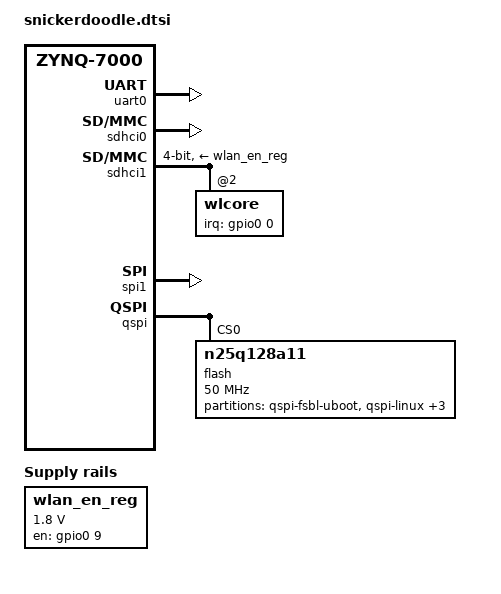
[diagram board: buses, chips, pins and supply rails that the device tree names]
/**
 * Copyright (c) 2016 krtkl inc.
 *
 * snickerdoodle base device tree source
 *
 * This program is free software; you can redistribute it and/or modify it
 * under the terms of the GNU General Public License version 2 as published by
 * the Free Software Foundation.
 */

/include/ "zynq-7000.dtsi"
/ {
        compatible = "xlnx,zynq-snickerdoodle", "xlnx,zynq-7000";

	aliases {
		serial0 = &uart0;
		spi0 = &qspi;
		spi1 = &spi1;
		mmc0 = &sdhci0;
		mmc1 = &sdhci1;
	};

	chosen {
		bootargs = "console=ttyPS0,115200n8 earlyprintk";
		linux,stdout-path = &uart0;
		stdout-path = &uart0;
	};

        wlan_en_reg: fixed-regulator-wlen {
                compatible = "regulator-fixed";
                regulator-name = "wlan-en-regulator";
                regulator-min-microvolt = <1800000>;
                regulator-max-microvolt = <1800000>;
                gpio = <&gpio0 9 4>;
                startup-delay-us = <70000>;
                enable-active-high;
        };
};

&clkc {
	ps-clk-frequency = <33333333>;
};

&uart0 {
	status = "okay";
};

&sdhci0 {
	status = "okay";
};

&sdhci1 {
	status = "okay";
	vmmc-supply = <&wlan_en_reg>;
	bus-width = <4>;
	cap-power-off-card;
	keep-power-in-suspend;
	#address-cells = <1>;
	#size-cells = <0>;	

        wlcore: wlcore@0 {
                reg = <2>;
                interrupt-parent = <&gpio0>;
                interrupts = <0 4>;
        };

};

&spi1 {
	status = "okay";
	num-cs = <1>;
};

&qspi {
	status = "okay";
	is-dual = <0>;
	num-cs = <1>;
	xlnx,qspi-mode = <1>;

	flash@0 {
		compatible = "n25q128a11";
		reg = <0x0>;
		spi-tx-bus-width = <1>;
		spi-rx-bus-width = <4>;
		spi-max-frequency = <50000000>;
		#address-cells = <1>;
		#size-cells =<1>;
		
		partition@qspi-fsbl-uboot {
			label = "qspi-fsbl-uboot";
			reg = <0x0 0x80000>;
		};

		partition@qspi-linux {
			label = "qspi-linux";
			reg = <0x80000 0x400000>;
		};

		partition@qspi-device-tree {
			label = "qspi-device-tree";
			reg = <0x480000 0x10000>;
		};

		partition@qspi-rootfs {
			label = "qspi-rootfs";
			reg = <0x490000 0x8f0000>;
		};

		partition@qspi-bitstream {
			label = "qspi-bitstream";
			reg = <0xd80000 0x280000>;
		};
	};
};
